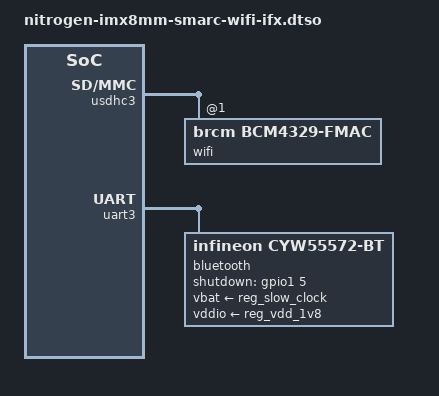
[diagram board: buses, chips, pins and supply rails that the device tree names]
// SPDX-License-Identifier: (GPL-2.0+ OR MIT)
/*
 * SDIO LWBxx & IFxxx module
 *
 * Copyright (C) 2026 Ezurio LLC
 */

/dts-v1/;
/plugin/;

#include <dt-bindings/gpio/gpio.h>

#include "imx8mm-pinfunc.h"

&reg_wifi_en {
	startup-delay-us = <250000>;
	off-on-delay-us = <100>;
};

&usdhc3 {
	status = "okay";

	#address-cells = <1>;
	#size-cells = <0>;

	wifi@1 {
		reg = <1>;
		compatible = "brcm,bcm4329-fmac";
	};
};

&uart3 {
	status = "okay";

	bluetooth {
		compatible = "infineon,cyw55572-bt";
		vbat-supply = <&reg_slow_clock>;
		vddio-supply = <&reg_vdd_1v8>;
		brcm,requires-autobaud-mode;
		max-speed = <3000000>;

		pinctrl-names = "default";
		pinctrl-0 = <&pinctrl_bt_en>;
		shutdown-gpios = <&gpio1 5 GPIO_ACTIVE_HIGH>;
	};
};

&iomuxc {
	pinctrl_bt_en: bt-engrp {
		fsl,pins = <
			MX8MM_IOMUXC_GPIO1_IO05_GPIO1_IO5	0x100
		>;
	};
};
